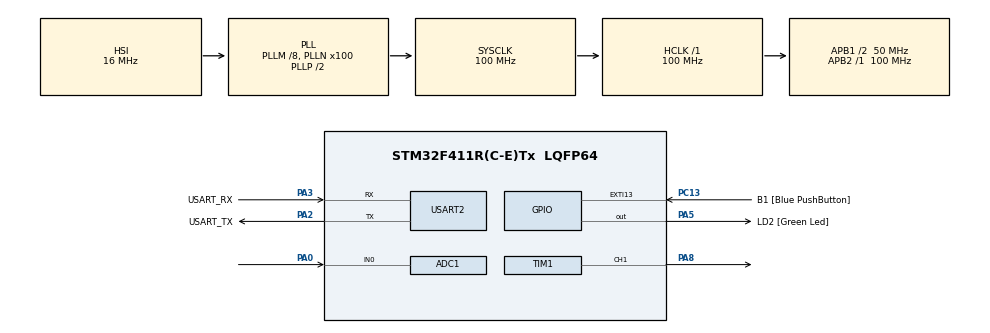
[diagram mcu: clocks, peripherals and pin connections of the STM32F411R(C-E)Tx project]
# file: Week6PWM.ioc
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ADC1.Channel-0\#ChannelRegularConversion=ADC_CHANNEL_0
ADC1.ExternalTrigConv=ADC_EXTERNALTRIGCONV_T3_TRGO
ADC1.NbrOfConversionFlag=1
ADC1.Rank-0\#ChannelRegularConversion=1
ADC1.SamplingTime-0\#ChannelRegularConversion=ADC_SAMPLETIME_56CYCLES
ADC1.master=1
Mcu.Family=STM32F4
Mcu.Name=STM32F411R(C-E)Tx
Mcu.Package=LQFP64
NVIC.ADC_IRQn=true\:0\:0\:false\:false\:true\:true\:true
NVIC.PriorityGroup=NVIC_PRIORITYGROUP_0
NVIC.TIM1_TRG_COM_TIM11_IRQn=true\:0\:0\:false\:false\:true\:true\:true
PA0-WKUP.Signal=ADCx_IN0
PA13.GPIO_Label=TMS
PA13.Mode=Serial_Wire
PA13.Signal=SYS_JTMS-SWDIO
PA14.GPIO_Label=TCK
PA14.Mode=Serial_Wire
PA14.Signal=SYS_JTCK-SWCLK
PA2.GPIO_Label=USART_TX
PA2.Mode=Asynchronous
PA2.Signal=USART2_TX
PA3.GPIO_Label=USART_RX
PA3.Mode=Asynchronous
PA3.Signal=USART2_RX
PA5.GPIO_Label=LD2 [Green Led]
PA5.Signal=GPIO_Output
PA8.Signal=S_TIM1_CH1
PB3.GPIO_Label=SWO
PB3.Signal=SYS_JTDO-SWO
PC13-ANTI_TAMP.GPIO_Label=B1 [Blue PushButton]
PC13-ANTI_TAMP.GPIO_ModeDefaultEXTI=GPIO_MODE_IT_FALLING
PC13-ANTI_TAMP.Signal=GPXTI13
PC14-OSC32_IN.Mode=LSE-External-Oscillator
PC14-OSC32_IN.Signal=RCC_OSC32_IN
PC15-OSC32_OUT.Mode=LSE-External-Oscillator
PC15-OSC32_OUT.Signal=RCC_OSC32_OUT
PH0\ -\ OSC_IN.Mode=HSE-External-Clock-Source
PH0\ -\ OSC_IN.Signal=RCC_OSC_IN
PH1\ -\ OSC_OUT.Mode=HSE-External-Clock-Source
PH1\ -\ OSC_OUT.Signal=RCC_OSC_OUT
ProjectManager.HeapSize=0x200
ProjectManager.StackSize=0x400
ProjectManager.TargetToolchain=STM32CubeIDE
RCC.48MHZClocksFreq_Value=50000000
RCC.AHBFreq_Value=100000000
RCC.APB1CLKDivider=RCC_HCLK_DIV2
RCC.APB1Freq_Value=50000000
RCC.APB1TimFreq_Value=100000000
RCC.APB2Freq_Value=100000000
RCC.APB2TimFreq_Value=100000000
RCC.CortexFreq_Value=100000000
RCC.FLatency-AdvancedSettings=FLASH_LATENCY_3
RCC.HCLKFreq_Value=100000000
RCC.HSE_VALUE=8000000
RCC.HSI_VALUE=16000000
RCC.PLLM=8
RCC.PLLN=100
RCC.SYSCLKFreq_VALUE=100000000
RCC.SYSCLKSource=RCC_SYSCLKSOURCE_PLLCLK
RCC.VCOOutputFreq_Value=200000000
SH.ADCx_IN0.0=ADC1_IN0,IN0
SH.S_TIM1_CH1.0=TIM1_CH1,PWM Generation1 CH1
TIM1.Channel-PWM\ Generation1\ CH1=TIM_CHANNEL_1
TIM1.Period=10000
TIM1.Pulse-PWM\ Generation1\ CH1=5000
TIM11.Prescaler=99
TIM3.Period=1000
TIM3.Prescaler=99
TIM3.TIM_MasterOutputTrigger=TIM_TRGO_UPDATE
USART2.VirtualMode=VM_ASYNC
VP_TIM11_VS_ClockSourceINT.Mode=Enable_Timer
VP_TIM1_VS_ClockSourceINT.Mode=Internal
VP_TIM3_VS_ClockSourceINT.Mode=Internal
board=NUCLEO-F411RE

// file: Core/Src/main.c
/* USER CODE BEGIN Header */
/**
  ******************************************************************************
  * @file           : main.c
  * @brief          : Main program body
  ******************************************************************************
  * @attention
  *
  * <h2><center>&copy; Copyright (c) 2021 STMicroelectronics.
  * All rights reserved.</center></h2>
  *
  * This software component is licensed by ST under BSD 3-Clause license,
  * the "License"; You may not use this file except in compliance with the
  * License. You may obtain a copy of the License at:
  *                        opensource.org/licenses/BSD-3-Clause
  *
  ******************************************************************************
  */
/* USER CODE END Header */
#include "main.h"

ADC_HandleTypeDef hadc1;

TIM_HandleTypeDef htim1;
TIM_HandleTypeDef htim3;
TIM_HandleTypeDef htim11;

UART_HandleTypeDef huart2;

/* USER CODE BEGIN PV */

uint8_t ADCUpdateFlag = 0;
uint16_t ADCFeedBack = 0;

uint16_t PWMOut = 3000;
float Error = 0.0;
float Kp = 0.0;

uint64_t _micro = 0;
uint64_t TimeOutputLoop = 0;
/* USER CODE END PV */

void SystemClock_Config(void);
static void MX_GPIO_Init(void);
static void MX_USART2_UART_Init(void);
static void MX_ADC1_Init(void);
static void MX_TIM1_Init(void);
static void MX_TIM3_Init(void);
static void MX_TIM11_Init(void);
/* USER CODE BEGIN PFP */
uint64_t micros();
/* USER CODE END PFP */

int main(void)
{

  /* MCU Configuration--------------------------------------------------------*/

  /* Reset of all peripherals, Initializes the Flash interface and the Systick. */
  HAL_Init();

  /* Configure the system clock */
  SystemClock_Config();

  /* Initialize all configured peripherals */
  MX_GPIO_Init();
  MX_USART2_UART_Init();
  MX_ADC1_Init();
  MX_TIM1_Init();
  MX_TIM3_Init();
  MX_TIM11_Init();
  /* USER CODE BEGIN 2 */
  	  //ADC Start
  	  HAL_ADC_Start_IT(&hadc1);
  	  HAL_TIM_Base_Start(&htim3);

  	  HAL_TIM_Base_Start(&htim1);
  	  HAL_TIM_PWM_Start(&htim1, TIM_CHANNEL_1);

  	  HAL_TIM_Base_Start_IT(&htim11);

  /* USER CODE END 2 */

  /* Infinite loop */
  while (1)
  {

    /* USER CODE BEGIN 3 */
	  //1 Khz Loop
	  if (micros() - TimeOutputLoop > 1000)
	  {
	  	TimeOutputLoop = micros();
	  	// #001
	  	Error = 1241.0 - ADCFeedBack; // 1241.0 is set point that be 1 V
	  	PWMOut = PWMOut+(Kp*Error);
	  	__HAL_TIM_SET_COMPARE(&htim1, TIM_CHANNEL_1, PWMOut); // if TIM1 increase until it equal to PWMOut. TIM1 will be set to 0 again and start increase again. So that will be PWM.
	  }
	  if (ADCUpdateFlag)
	  {
	  	ADCUpdateFlag = 0;
	  	//#002
	  }
  }
  /* USER CODE END 3 */
}

void SystemClock_Config(void)
{
  RCC_OscInitTypeDef RCC_OscInitStruct = {0};
  RCC_ClkInitTypeDef RCC_ClkInitStruct = {0};

  /** Configure the main internal regulator output voltage
  */
  __HAL_RCC_PWR_CLK_ENABLE();
  __HAL_PWR_VOLTAGESCALING_CONFIG(PWR_REGULATOR_VOLTAGE_SCALE1);
  /** Initializes the RCC Oscillators according to the specified parameters
  * in the RCC_OscInitTypeDef structure.
  */
  RCC_OscInitStruct.OscillatorType = RCC_OSCILLATORTYPE_HSI;
  RCC_OscInitStruct.HSIState = RCC_HSI_ON;
  RCC_OscInitStruct.HSICalibrationValue = RCC_HSICALIBRATION_DEFAULT;
  RCC_OscInitStruct.PLL.PLLState = RCC_PLL_ON;
  RCC_OscInitStruct.PLL.PLLSource = RCC_PLLSOURCE_HSI;
  RCC_OscInitStruct.PLL.PLLM = 8;
  RCC_OscInitStruct.PLL.PLLN = 100;
  RCC_OscInitStruct.PLL.PLLP = RCC_PLLP_DIV2;
  RCC_OscInitStruct.PLL.PLLQ = 4;
  if (HAL_RCC_OscConfig(&RCC_OscInitStruct) != HAL_OK)
  {
    Error_Handler();
  }
  /** Initializes the CPU, AHB and APB buses clocks
  */
  RCC_ClkInitStruct.ClockType = RCC_CLOCKTYPE_HCLK|RCC_CLOCKTYPE_SYSCLK
                              |RCC_CLOCKTYPE_PCLK1|RCC_CLOCKTYPE_PCLK2;
  RCC_ClkInitStruct.SYSCLKSource = RCC_SYSCLKSOURCE_PLLCLK;
  RCC_ClkInitStruct.AHBCLKDivider = RCC_SYSCLK_DIV1;
  RCC_ClkInitStruct.APB1CLKDivider = RCC_HCLK_DIV2;
  RCC_ClkInitStruct.APB2CLKDivider = RCC_HCLK_DIV1;

  if (HAL_RCC_ClockConfig(&RCC_ClkInitStruct, FLASH_LATENCY_3) != HAL_OK)
  {
    Error_Handler();
  }
}

static void MX_ADC1_Init(void)
{

  ADC_ChannelConfTypeDef sConfig = {0};

  /** Configure the global features of the ADC (Clock, Resolution, Data Alignment and number of conversion)
  */
  hadc1.Instance = ADC1;
  hadc1.Init.ClockPrescaler = ADC_CLOCK_SYNC_PCLK_DIV4;
  hadc1.Init.Resolution = ADC_RESOLUTION_12B;
  hadc1.Init.ScanConvMode = DISABLE;
  hadc1.Init.ContinuousConvMode = DISABLE;
  hadc1.Init.DiscontinuousConvMode = DISABLE;
  hadc1.Init.ExternalTrigConvEdge = ADC_EXTERNALTRIGCONVEDGE_RISING;
  hadc1.Init.ExternalTrigConv = ADC_EXTERNALTRIGCONV_T3_TRGO;
  hadc1.Init.DataAlign = ADC_DATAALIGN_RIGHT;
  hadc1.Init.NbrOfConversion = 1;
  hadc1.Init.DMAContinuousRequests = DISABLE;
  hadc1.Init.EOCSelection = ADC_EOC_SINGLE_CONV;
  if (HAL_ADC_Init(&hadc1) != HAL_OK)
  {
    Error_Handler();
  }
  /** Configure for the selected ADC regular channel its corresponding rank in the sequencer and its sample time.
  */
  sConfig.Channel = ADC_CHANNEL_0;
  sConfig.Rank = 1;
  sConfig.SamplingTime = ADC_SAMPLETIME_56CYCLES;
  if (HAL_ADC_ConfigChannel(&hadc1, &sConfig) != HAL_OK)
  {
    Error_Handler();
  }

}

static void MX_TIM1_Init(void)
{

  TIM_ClockConfigTypeDef sClockSourceConfig = {0};
  TIM_MasterConfigTypeDef sMasterConfig = {0};
  TIM_OC_InitTypeDef sConfigOC = {0};
  TIM_BreakDeadTimeConfigTypeDef sBreakDeadTimeConfig = {0};

  htim1.Instance = TIM1;
  htim1.Init.Prescaler = 0;
  htim1.Init.CounterMode = TIM_COUNTERMODE_UP;
  htim1.Init.Period = 10000;
  htim1.Init.ClockDivision = TIM_CLOCKDIVISION_DIV1;
  htim1.Init.RepetitionCounter = 0;
  htim1.Init.AutoReloadPreload = TIM_AUTORELOAD_PRELOAD_DISABLE;
  if (HAL_TIM_Base_Init(&htim1) != HAL_OK)
  {
    Error_Handler();
  }
  sClockSourceConfig.ClockSource = TIM_CLOCKSOURCE_INTERNAL;
  if (HAL_TIM_ConfigClockSource(&htim1, &sClockSourceConfig) != HAL_OK)
  {
    Error_Handler();
  }
  if (HAL_TIM_PWM_Init(&htim1) != HAL_OK)
  {
    Error_Handler();
  }
  sMasterConfig.MasterOutputTrigger = TIM_TRGO_RESET;
  sMasterConfig.MasterSlaveMode = TIM_MASTERSLAVEMODE_DISABLE;
  if (HAL_TIMEx_MasterConfigSynchronization(&htim1, &sMasterConfig) != HAL_OK)
  {
    Error_Handler();
  }
  sConfigOC.OCMode = TIM_OCMODE_PWM1;
  sConfigOC.Pulse = 5000;
  sConfigOC.OCPolarity = TIM_OCPOLARITY_HIGH;
  sConfigOC.OCNPolarity = TIM_OCNPOLARITY_HIGH;
  sConfigOC.OCFastMode = TIM_OCFAST_DISABLE;
  sConfigOC.OCIdleState = TIM_OCIDLESTATE_RESET;
  sConfigOC.OCNIdleState = TIM_OCNIDLESTATE_RESET;
  if (HAL_TIM_PWM_ConfigChannel(&htim1, &sConfigOC, TIM_CHANNEL_1) != HAL_OK)
  {
    Error_Handler();
  }
  sBreakDeadTimeConfig.OffStateRunMode = TIM_OSSR_DISABLE;
  sBreakDeadTimeConfig.OffStateIDLEMode = TIM_OSSI_DISABLE;
  sBreakDeadTimeConfig.LockLevel = TIM_LOCKLEVEL_OFF;
  sBreakDeadTimeConfig.DeadTime = 0;
  sBreakDeadTimeConfig.BreakState = TIM_BREAK_DISABLE;
  sBreakDeadTimeConfig.BreakPolarity = TIM_BREAKPOLARITY_HIGH;
  sBreakDeadTimeConfig.AutomaticOutput = TIM_AUTOMATICOUTPUT_DISABLE;
  if (HAL_TIMEx_ConfigBreakDeadTime(&htim1, &sBreakDeadTimeConfig) != HAL_OK)
  {
    Error_Handler();
  }
  HAL_TIM_MspPostInit(&htim1);

}

static void MX_TIM3_Init(void)
{

  TIM_ClockConfigTypeDef sClockSourceConfig = {0};
  TIM_MasterConfigTypeDef sMasterConfig = {0};

  htim3.Instance = TIM3;
  htim3.Init.Prescaler = 99;
  htim3.Init.CounterMode = TIM_COUNTERMODE_UP;
  htim3.Init.Period = 1000;
  htim3.Init.ClockDivision = TIM_CLOCKDIVISION_DIV1;
  htim3.Init.AutoReloadPreload = TIM_AUTORELOAD_PRELOAD_DISABLE;
  if (HAL_TIM_Base_Init(&htim3) != HAL_OK)
  {
    Error_Handler();
  }
  sClockSourceConfig.ClockSource = TIM_CLOCKSOURCE_INTERNAL;
  if (HAL_TIM_ConfigClockSource(&htim3, &sClockSourceConfig) != HAL_OK)
  {
    Error_Handler();
  }
  sMasterConfig.MasterOutputTrigger = TIM_TRGO_UPDATE;
  sMasterConfig.MasterSlaveMode = TIM_MASTERSLAVEMODE_DISABLE;
  if (HAL_TIMEx_MasterConfigSynchronization(&htim3, &sMasterConfig) != HAL_OK)
  {
    Error_Handler();
  }

}

static void MX_TIM11_Init(void)
{

  htim11.Instance = TIM11;
  htim11.Init.Prescaler = 99;
  htim11.Init.CounterMode = TIM_COUNTERMODE_UP;
  htim11.Init.Period = 65535;
  htim11.Init.ClockDivision = TIM_CLOCKDIVISION_DIV1;
  htim11.Init.AutoReloadPreload = TIM_AUTORELOAD_PRELOAD_DISABLE;
  if (HAL_TIM_Base_Init(&htim11) != HAL_OK)
  {
    Error_Handler();
  }

}

static void MX_USART2_UART_Init(void)
{

  huart2.Instance = USART2;
  huart2.Init.BaudRate = 115200;
  huart2.Init.WordLength = UART_WORDLENGTH_8B;
  huart2.Init.StopBits = UART_STOPBITS_1;
  huart2.Init.Parity = UART_PARITY_NONE;
  huart2.Init.Mode = UART_MODE_TX_RX;
  huart2.Init.HwFlowCtl = UART_HWCONTROL_NONE;
  huart2.Init.OverSampling = UART_OVERSAMPLING_16;
  if (HAL_UART_Init(&huart2) != HAL_OK)
  {
    Error_Handler();
  }

}

static void MX_GPIO_Init(void)
{
  GPIO_InitTypeDef GPIO_InitStruct = {0};

  /* GPIO Ports Clock Enable */
  __HAL_RCC_GPIOC_CLK_ENABLE();
  __HAL_RCC_GPIOH_CLK_ENABLE();
  __HAL_RCC_GPIOA_CLK_ENABLE();
  __HAL_RCC_GPIOB_CLK_ENABLE();

  /*Configure GPIO pin Output Level */
  HAL_GPIO_WritePin(LD2_GPIO_Port, LD2_Pin, GPIO_PIN_RESET);

  /*Configure GPIO pin : B1_Pin */
  GPIO_InitStruct.Pin = B1_Pin;
  GPIO_InitStruct.Mode = GPIO_MODE_IT_FALLING;
  GPIO_InitStruct.Pull = GPIO_NOPULL;
  HAL_GPIO_Init(B1_GPIO_Port, &GPIO_InitStruct);

  /*Configure GPIO pin : LD2_Pin */
  GPIO_InitStruct.Pin = LD2_Pin;
  GPIO_InitStruct.Mode = GPIO_MODE_OUTPUT_PP;
  GPIO_InitStruct.Pull = GPIO_NOPULL;
  GPIO_InitStruct.Speed = GPIO_SPEED_FREQ_LOW;
  HAL_GPIO_Init(LD2_GPIO_Port, &GPIO_InitStruct);

}

/* USER CODE BEGIN 4 */
void HAL_ADC_ConvCpltCallback(ADC_HandleTypeDef *hadc)
{
	ADCFeedBack = HAL_ADC_GetValue(&hadc1);
	ADCUpdateFlag = 1;
}
void HAL_TIM_PeriodElapsedCallback(TIM_HandleTypeDef *htim) {
	if (htim == &htim11)
	{
		_micro += 65535;
	}
}

__inline__ uint64_t micros()
{
	return _micro + htim11.Instance->CNT;
}
/* USER CODE END 4 */

void Error_Handler(void)
{
  __disable_irq();
  while (1)
  {
  }
}

/************************ (C) COPYRIGHT STMicroelectronics *****END OF FILE****/
